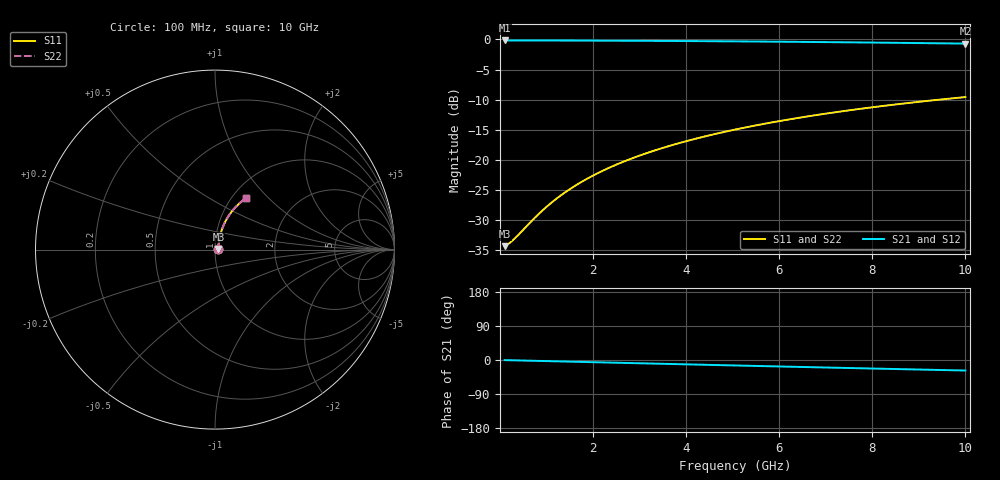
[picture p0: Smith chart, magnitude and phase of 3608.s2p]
# Hz S RI R 50.00
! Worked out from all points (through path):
!   100 points, 100 MHz to 10 GHz, reference 50 ohm
!   highest |S21| = -0.17 dB at 100 MHz (marker M1); lowest = -0.7 dB at 10 GHz (marker M2)
!   group delay of S21, straight-line fit = 7.73 ps
!   lowest |S11| = -34.3 dB at 100 MHz (marker M3), VSWR 1.04, Z = 51.9 + j0.364 ohm
!   |S11| at or under -10 dB: start of sweep to 9.423 GHz
!   |S22| runs from -34.3 to -9.6 dB; largest |S21 - S12| = 0
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1e8  0.019 0.0035  0.981 -0.00494  0.981 -0.00494  0.019 0.0035
2e8  0.0191 0.007  0.9809 -0.00988  0.9809 -0.00988  0.0191 0.007
3e8  0.0193 0.0105  0.9807 -0.0148  0.9807 -0.0148  0.0193 0.0105
8e8  0.0206 0.0279  0.9794 -0.0395  0.9794 -0.0395  0.0206 0.0279
9e8  0.0209 0.0314  0.979 -0.0444  0.979 -0.0444  0.0209 0.0314
1.1e9  0.0217 0.0383  0.9782 -0.0542  0.9782 -0.0542  0.0217 0.0383
1.4e9  0.0231 0.0487  0.9767 -0.0689  0.9767 -0.0689  0.0231 0.0487
1.6e9  0.0242 0.0556  0.9755 -0.0787  0.9755 -0.0787  0.0242 0.0556
1.8e9  0.0254 0.0624  0.9742 -0.0884  0.9742 -0.0884  0.0254 0.0624
2.1e9  0.0275 0.0727  0.972 -0.103  0.972 -0.103  0.0275 0.0727
2.5e9  0.0308 0.0862  0.9685 -0.1222  0.9685 -0.1222  0.0308 0.0862
2.9e9  0.0346 0.0995  0.9645 -0.1413  0.9645 -0.1413  0.0346 0.0995
3.4e9  0.0401 0.1158  0.9587 -0.1649  0.9587 -0.1649  0.0401 0.1158
3.8e9  0.045 0.1287  0.9534 -0.1835  0.9534 -0.1835  0.045 0.1287
4.2e9  0.0504 0.1413  0.9477 -0.2019  0.9477 -0.2019  0.0504 0.1413
4.6e9  0.0563 0.1536  0.9414 -0.22  0.9414 -0.22  0.0563 0.1536
5.1e9  0.0643 0.1685  0.9329 -0.2422  0.9329 -0.2422  0.0643 0.1685
5.9e9  0.0784 0.1915  0.9179 -0.2768  0.9179 -0.2768  0.0784 0.1915
6.7e9  0.0941 0.213  0.9011 -0.31  0.9011 -0.31  0.0941 0.213
7.5e9  0.1112 0.233  0.8828 -0.3417  0.8828 -0.3417  0.1112 0.233
8.4e9  0.1319 0.2536  0.8605 -0.3754  0.8605 -0.3754  0.1319 0.2536
1e10  0.1717 0.2851  0.8175 -0.4304  0.8175 -0.4304  0.1717 0.2851
